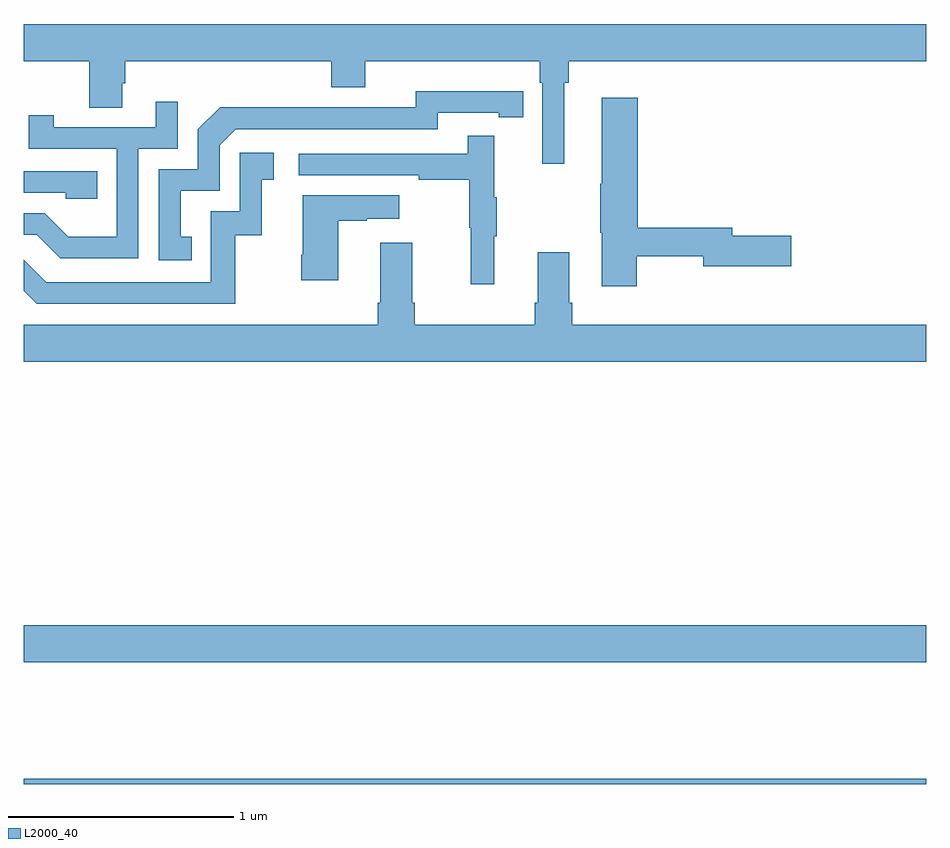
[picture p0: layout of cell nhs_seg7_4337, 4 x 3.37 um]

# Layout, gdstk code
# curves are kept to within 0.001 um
import gdstk
lib = gdstk.Library(unit=1e-6, precision=1e-09)
def R(c, l, rs):  # rectangles x0, y0, x1, y1
    for r in rs: c.add(gdstk.rectangle(r[:2], r[2:], *l))
def P(c, l, *ps):  # polygons
    for p in ps: c.add(gdstk.Polygon(p, *l))
L2000_40 = (2000, 40)

nhs_seg7_4337 = lib.new_cell('nhs_seg7_4337')
R(nhs_seg7_4337, L2000_40, [(383,1076,387,1076.024), (383,1076.54,387,1076.704)])
P(nhs_seg7_4337, L2000_40, [(385.396,1079.108),(385.415,1079.108),(385.415,1079.204),(387,1079.204),(387,1079.368),(383,1079.368),(383,1079.204),(383.29,1079.204),(383.29,1078.996),(383.437,1078.996),(383.437,1079.106),(383.45,1079.106),(383.45,1079.204),(384.362,1079.204),(384.362,1079.087),(384.514,1079.087),(384.514,1079.204),(385.286,1079.204),(385.286,1079.108),(385.299,1079.108),(385.299,1078.749),(385.396,1078.749)],
  [(383.744,1078.425),(383.695,1078.425),(383.695,1078.629),(383.868,1078.629),(383.868,1078.83),(383.94,1078.902),(384.834,1078.902),(384.834,1078.974),(385.106,1078.974),(385.106,1078.954),(385.214,1078.954),(385.214,1079.07),(384.738,1079.071),(384.738,1078.998),(384.278,1078.998),(384.278,1079),(383.87,1079),(383.772,1078.902),(383.772,1078.725),(383.598,1078.725),(383.598,1078.32),(383.744,1078.32)],
  [(385.716,1078.338),(386.012,1078.338),(386.012,1078.295),(386.401,1078.295),(386.401,1078.43),(386.14,1078.43),(386.14,1078.466),(385.721,1078.466),(385.721,1079.041),(385.562,1079.041),(385.562,1078.661),(385.555,1078.661),(385.555,1078.443),(385.562,1078.443),(385.562,1078.206),(385.716,1078.206)],
  [(383.508,1078.815),(383.682,1078.815),(383.682,1079.023),(383.585,1079.023),(383.585,1078.911),(383.134,1078.911),(383.134,1078.963),(383.023,1078.963),(383.023,1078.815),(383.412,1078.815),(383.412,1078.426),(383.198,1078.426),(383.094,1078.53),(383,1078.53),(383,1078.434),(383.057,1078.434),(383.162,1078.329),(383.508,1078.329)],
  [(385.085,1078.427),(385.096,1078.427),(385.096,1078.601),(385.085,1078.601),(385.085,1078.873),(384.967,1078.873),(384.967,1078.794),(384.219,1078.794),(384.219,1078.698),(384.751,1078.698),(384.751,1078.678),(384.975,1078.678),(384.975,1078.464),(384.982,1078.464),(384.982,1078.215),(385.085,1078.215)],
  [(383.938,1078.431),(384.056,1078.431),(384.056,1078.677),(384.109,1078.677),(384.109,1078.798),(383.958,1078.798),(383.958,1078.539),(383.829,1078.539),(383.829,1078.224),(383.1,1078.224),(383,1078.324),(383,1078.186),(383.058,1078.128),(383.938,1078.128)],
  [(383.327,1078.716),(383,1078.716),(383,1078.62),(383.187,1078.62),(383.187,1078.593),(383.327,1078.593)],
  [(384.394,1078.495),(384.521,1078.495),(384.521,1078.505),(384.664,1078.505),(384.664,1078.609),(384.236,1078.609),(384.236,1078.345),(384.229,1078.345),(384.229,1078.233),(384.394,1078.233)],
  [(387,1078.036),(385.43,1078.036),(385.43,1078.132),(385.417,1078.132),(385.417,1078.357),(385.277,1078.357),(385.277,1078.132),(385.265,1078.132),(385.265,1078.036),(384.734,1078.036),(384.734,1078.132),(384.721,1078.132),(384.721,1078.399),(384.581,1078.399),(384.581,1078.132),(384.569,1078.132),(384.569,1078.036),(383,1078.036),(383,1077.872),(387,1077.872)])

lib.write_gds('nhs_seg7_4337.gds')
